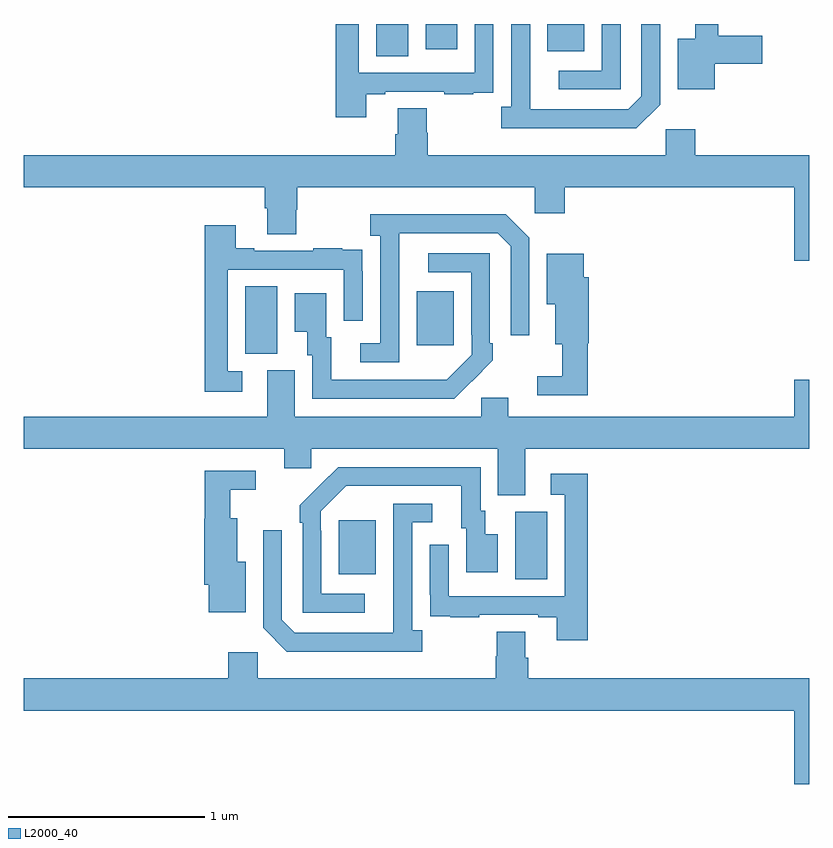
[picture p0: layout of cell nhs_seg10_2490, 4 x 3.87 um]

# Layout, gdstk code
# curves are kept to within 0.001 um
import gdstk
lib = gdstk.Library(unit=1e-6, precision=1e-09)
def R(c, l, rs):  # rectangles x0, y0, x1, y1
    for r in rs: c.add(gdstk.rectangle(r[:2], r[2:], *l))
def P(c, l, *ps):  # polygons
    for p in ps: c.add(gdstk.Polygon(p, *l))
L2000_40 = (2000, 40)

nhs_seg10_2490 = lib.new_cell('nhs_seg10_2490')
R(nhs_seg10_2490, L2000_40, [(247.502,1279.672,247.666,1280.016), (246.605,1279.697,246.793,1279.972), (246.128,1280.821,246.292,1281.164), (247.001,1280.865,247.189,1281.139), (246.794,1282.336,246.958,1282.5), (247.667,1282.361,247.855,1282.5), (247.046,1282.371,247.207,1282.5)])
P(nhs_seg10_2490, L2000_40, [(248.04,1282.5),(247.944,1282.5),(247.944,1282.263),(247.725,1282.263),(247.725,1282.167),(248.04,1282.167)],
  [(246.745,1282.143),(246.841,1282.143),(246.841,1282.155),(247.141,1282.155),(247.141,1282.143),(247.289,1282.143),(247.289,1282.149),(247.391,1282.149),(247.391,1282.258),(247.392,1282.258),(247.392,1282.5),(247.296,1282.5),(247.296,1282.251),(246.705,1282.251),(246.705,1282.5),(246.589,1282.5),(246.589,1282.026),(246.745,1282.026)],
  [(248.241,1282.089),(248.241,1282.5),(248.145,1282.5),(248.145,1282.131),(248.079,1282.065),(247.579,1282.065),(247.578,1282.5),(247.482,1282.5),(247.482,1282.078),(247.431,1282.078),(247.431,1281.968),(248.12,1281.968)],
  [(248.518,1282.297),(248.761,1282.297),(248.761,1282.439),(248.537,1282.439),(248.537,1282.5),(248.42,1282.5),(248.42,1282.426),(248.33,1282.426),(248.33,1282.169),(248.518,1282.169)],
  [(249,1281.832),(248.42,1281.832),(248.42,1281.964),(248.268,1281.964),(248.268,1281.832),(247.058,1281.832),(247.058,1281.945),(247.053,1281.945),(247.053,1282.07),(246.905,1282.07),(246.905,1281.938),(246.893,1281.938),(246.893,1281.832),(245,1281.832),(245,1281.668),(246.227,1281.668),(246.227,1281.562),(246.239,1281.562),(246.239,1281.43),(246.387,1281.43),(246.387,1281.555),(246.392,1281.555),(246.392,1281.668),(247.602,1281.668),(247.602,1281.537),(247.754,1281.537),(247.754,1281.668),(248.924,1281.668),(248.924,1281.294),(249,1281.294)],
  [(246.912,1281.235),(246.913,1281.435),(247.413,1281.435),(247.479,1281.369),(247.479,1280.916),(247.575,1280.916),(247.575,1281.411),(247.454,1281.532),(246.765,1281.532),(246.765,1281.422),(246.816,1281.422),(246.816,1280.874),(246.714,1280.874),(246.714,1280.778),(246.912,1280.778)],
  [(246.112,1280.733),(246.039,1280.733),(246.039,1281.249),(246.63,1281.249),(246.63,1280.988),(246.726,1280.988),(246.726,1281.242),(246.725,1281.242),(246.725,1281.351),(246.623,1281.351),(246.623,1281.358),(246.475,1281.358),(246.475,1281.345),(246.175,1281.345),(246.175,1281.358),(246.079,1281.358),(246.079,1281.475),(245.923,1281.475),(245.923,1280.628),(246.112,1280.628)],
  [(247.283,1280.683),(247.284,1280.682),(247.389,1280.787),(247.389,1280.875),(247.374,1280.875),(247.374,1281.333),(247.059,1281.333),(247.059,1281.237),(247.278,1281.237),(247.278,1280.917),(247.281,1280.917),(247.281,1280.817),(247.153,1280.689),(246.565,1280.688),(246.565,1280.904),(246.541,1280.904),(246.541,1281.13),(246.38,1281.13),(246.38,1280.933),(246.443,1280.933),(246.443,1280.814),(246.468,1280.814),(246.468,1280.592),(247.192,1280.592)],
  [(247.871,1280.874),(247.877,1280.874),(247.877,1281.21),(247.852,1281.21),(247.852,1281.331),(247.664,1281.331),(247.664,1281.074),(247.706,1281.074),(247.706,1280.87),(247.743,1280.87),(247.743,1280.707),(247.614,1280.707),(247.614,1280.61),(247.871,1280.61)],
  [(249,1280.689),(248.924,1280.689),(248.924,1280.5),(247.468,1280.5),(247.468,1280.598),(247.329,1280.598),(247.329,1280.5),(246.379,1280.5),(246.379,1280.736),(246.239,1280.736),(246.239,1280.5),(245,1280.5),(245,1280.336),(246.326,1280.336),(246.326,1280.238),(246.465,1280.238),(246.465,1280.336),(247.415,1280.336),(247.415,1280.101),(247.555,1280.101),(247.555,1280.336),(249,1280.336)],
  [(246.736,1279.599),(246.516,1279.599),(246.516,1279.919),(246.513,1279.919),(246.513,1280.019),(246.642,1280.148),(247.229,1280.148),(247.229,1279.932),(247.253,1279.932),(247.253,1279.707),(247.414,1279.707),(247.414,1279.903),(247.351,1279.903),(247.351,1280.022),(247.326,1280.022),(247.326,1280.244),(246.602,1280.244),(246.405,1280.049),(246.405,1279.961),(246.42,1279.961),(246.42,1279.503),(246.736,1279.503)],
  [(246.13,1279.762),(246.088,1279.762),(246.088,1279.984),(246.052,1279.984),(246.052,1280.129),(246.181,1280.129),(246.181,1280.226),(245.923,1280.226),(245.923,1279.98),(245.918,1279.98),(245.918,1279.644),(245.942,1279.644),(245.942,1279.505),(246.13,1279.505)],
  [(247.871,1280.209),(247.683,1280.209),(247.683,1280.103),(247.755,1280.103),(247.755,1279.587),(247.164,1279.587),(247.164,1279.849),(247.068,1279.849),(247.068,1279.594),(247.069,1279.594),(247.069,1279.485),(247.171,1279.485),(247.171,1279.479),(247.319,1279.479),(247.319,1279.491),(247.619,1279.491),(247.619,1279.479),(247.715,1279.479),(247.715,1279.362),(247.871,1279.362)],
  [(247.03,1279.414),(246.978,1279.414),(246.978,1279.962),(247.081,1279.962),(247.081,1280.058),(246.882,1280.058),(246.881,1279.401),(246.381,1279.401),(246.315,1279.467),(246.315,1279.921),(246.219,1279.921),(246.219,1279.425),(246.34,1279.304),(247.03,1279.304)],
  [(249,1279.168),(247.568,1279.168),(247.568,1279.274),(247.555,1279.274),(247.555,1279.406),(247.408,1279.406),(247.408,1279.281),(247.403,1279.281),(247.403,1279.168),(246.192,1279.168),(246.192,1279.3),(246.041,1279.3),(246.041,1279.168),(245,1279.168),(245,1279.004),(248.924,1279.004),(248.924,1278.63),(249,1278.63)])

lib.write_gds('nhs_seg10_2490.gds')
